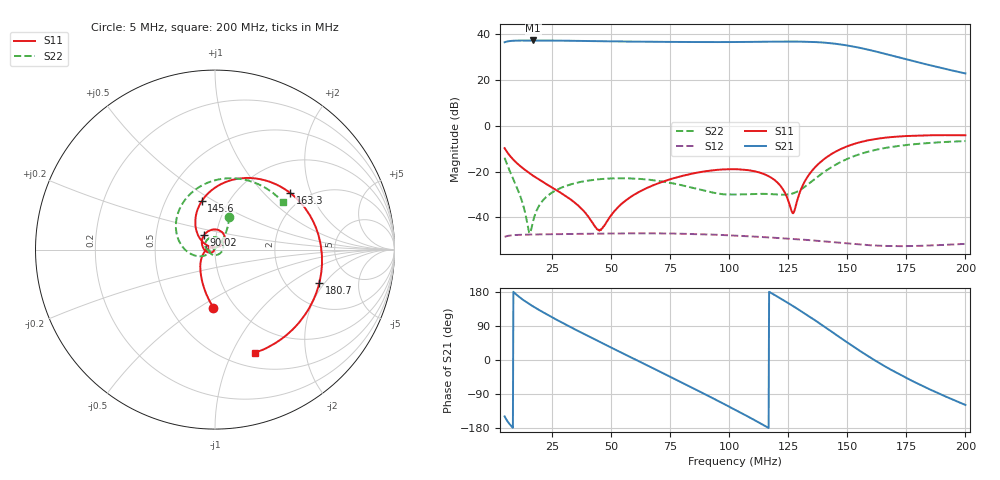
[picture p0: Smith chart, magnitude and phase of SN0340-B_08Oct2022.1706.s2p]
# Hz S DB R 50
! CMT, M5045, 22160017, 22.3.3/2
! Date: 10/8/2022 17:06:56
! Data: Format (Calibration Info)
! Freq	S11:dB/Ang(F2)	S21:dB/Ang(F2)	S12:dB/Ang(F2)	S22:dB/Ang(F2)
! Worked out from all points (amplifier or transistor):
!   1001 points, 5 MHz to 200 MHz, reference 50 ohm
!   highest |S21| = 37.1 dB at 17.09 MHz (marker M1)
!   |S21| within 3 dB of that: start of sweep to 154.3 MHz
!   unconditionally stable (mu >= 1): start of sweep to end of sweep
!   at 37.37 MHz: K = 1.77, MAG = 36.9 dB, |S12| = -47.1 dB
!   at 102.5 MHz: K = 1.99, MAG = 36.5 dB, |S12| = -47.9 dB
!   at 200 MHz: K = 6.99, MAG = 25.7 dB, |S12| = -51.5 dB
!   S11 on the Smith chart (normalised r, x): 5 MHz: 0.80, -0.58; 90.02 MHz: 0.88, +0.14; 145.6 MHz: 0.75, +0.44; 163.3 MHz: 1.66, +1.44; 180.7 MHz: 2.97, -1.78; 200 MHz: 0.66, -1.23
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5000000  -9.81 -91.5  36.34 -148.9  -48.47 -146.0  -13.97 66.5
9485000  -15.64 -118.0  37.02 175.4  -47.65 178.1  -25.28 51.4
1.709e7  -21.83 -152.6  37.12 141.3  -47.44 143.8  -41.44 177.1
2.7035e7  -28.20 170.8  37.05 106.1  -47.29 109.6  -28.00 -178.8
3.7565e7  -36.28 142.8  36.91 71.9  -47.15 76.9  -24.45 157.0
5.4335e7  -34.27 -133.9  36.68 19.7  -46.96 27.3  -22.92 110.4
6.2135e7  -28.79 -152.3  36.60 -4.3  -46.93 4.7  -23.20 86.3
7.013e7  -25.08 -175.1  36.53 -28.9  -46.95 -18.5  -24.09 59.8
8.066e7  -21.80 154.1  36.45 -61.6  -47.09 -49.1  -26.13 20.5
9.002e7  -19.89 126.4  36.42 -91.1  -47.37 -76.6  -28.45 -22.4
1.025e8  -18.98 88.7  36.43 -131.1  -47.92 -114.1  -29.99 -93.5
1.11665e8  -20.09 61.0  36.52 -161.8  -48.41 -142.9  -29.74 -140.2
1.1966e8  -24.05 38.8  36.61 170.0  -48.88 -170.1  -29.95 -162.4
1.2707e8  -38.21 93.6  36.65 142.3  -49.37 162.6  -29.51 -157.6
1.35065e8  -19.68 143.9  36.48 110.2  -49.97 129.9  -24.20 -149.2
1.4033e8  -14.49 125.6  36.17 88.0  -50.42 106.6  -20.12 -158.0
1.45595e8  -11.05 105.2  35.61 65.2  -50.91 82.2  -16.73 -172.8
1.53785e8  -7.68 72.6  34.22 30.4  -51.67 44.1  -12.95 159.8
1.6334e8  -5.61 37.0  31.99 -7.2  -52.32 3.0  -10.26 128.3
1.6763e8  -5.08 22.3  30.87 -22.6  -52.46 -13.6  -9.46 115.2
1.80695e8  -4.29 -17.9  27.42 -65.0  -52.37 -57.0  -7.87 79.4
2e8  -4.20 -69.1  22.75 -118.6  -51.52 -107.7  -6.73 35.1
